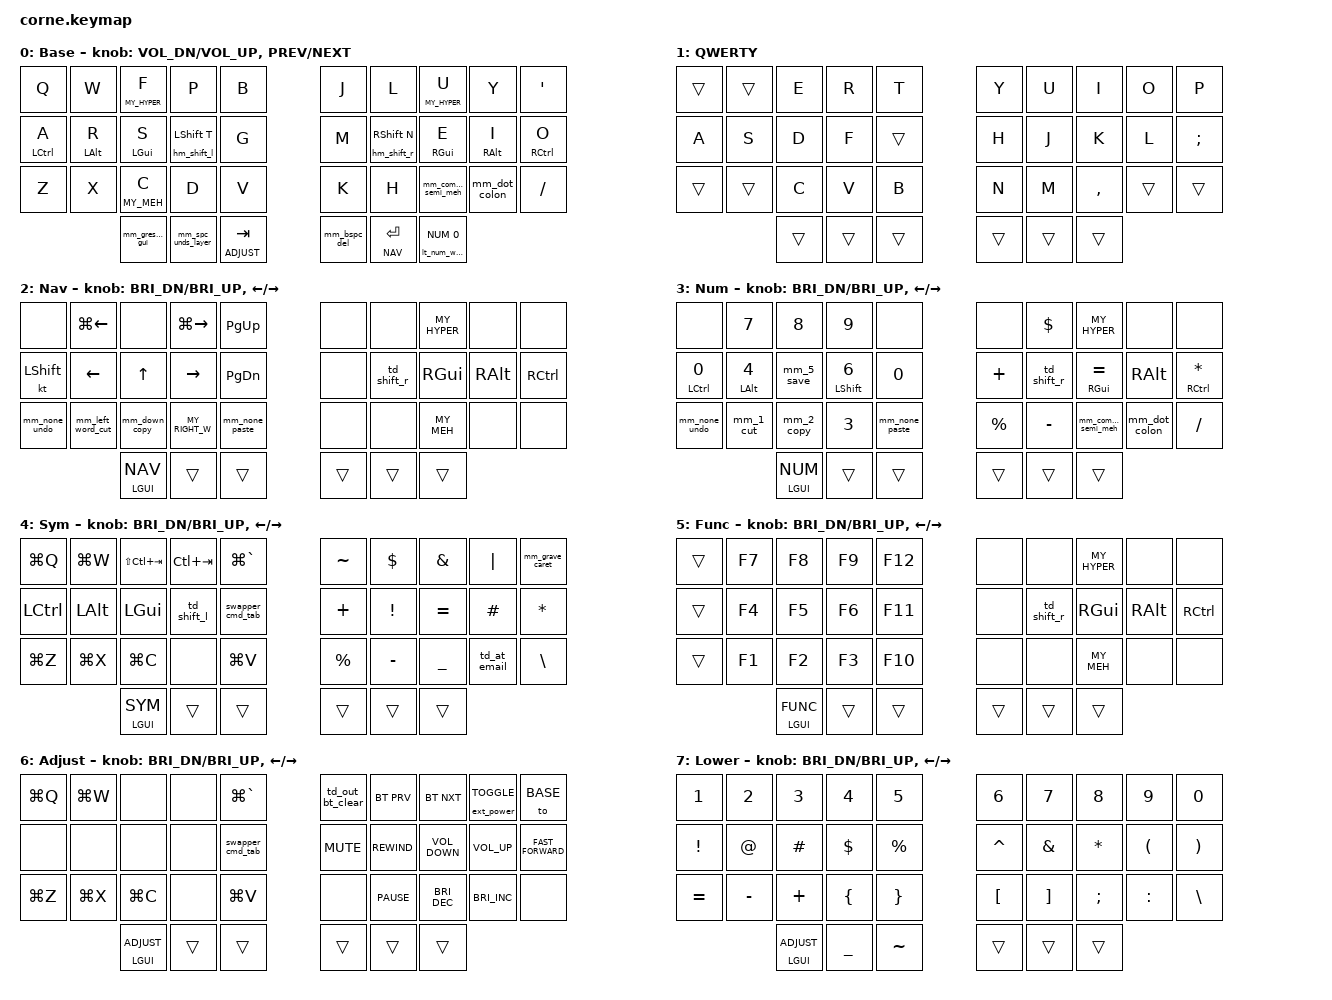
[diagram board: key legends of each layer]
/*
 * Copyright (c) 2020 The ZMK Contributors
 *
 * SPDX-License-Identifier: MIT
 */

/*
 * Copyright (c) 2020 The ZMK Contributors
 *
 * SPDX-License-Identifier: MIT
 */

// Define layer numbers
#define BASE 0
#define BASE_QWERTY 1
#define NAV 2
#define NUM 3
#define SYM 4
#define FUNC 5
#define ADJUST 6
#define LOWER 7

// ZMK includes
#include <behaviors.dtsi>
#include <dt-bindings/zmk/keys.h>
#include <dt-bindings/zmk/bt.h>
#include <dt-bindings/zmk/rgb.h>
#include <dt-bindings/zmk/ext_power.h>

// Personal includes
#include "includes/settings.dtsi"
#include "includes/custom_keycodes.dtsi"
//#include "includes/settings_pd.dtsi"
#include "includes/conditional_layers.dtsi"
//#include "includes/macros.dtsi"
#include "includes/combos.dtsi"
#include "includes/behaviors_homerow_mods.dtsi"
//#include "includes/behaviors_mod_morph.dtsi"
//#include "includes/behaviors_other.dtsi"


/ {

  keymap {
    compatible = "zmk,keymap";

    Base_layer {
      label = "Base";
      bindings = <
// ╭────────────────────────┬────────────────────────┬────────────────────────┬────────────────────────┬────────────────────────╮    ╭────────────────────────┬────────────────────────┬────────────────────────┬───────────────────────┬────────────────────────╮
     &kp Q                    &kp W                    &hm_l MY_HYPER F         &kp P                    &kp B                         &kp J                    &kp L                    &hm_r MY_HYPER U         &kp Y                    &kp SINGLE_QUOTE
// ├────────────────────────┼────────────────────────┼────────────────────────┼────────────────────────┼────────────────────────┤    ├────────────────────────┼────────────────────────┼────────────────────────┼───────────────────────┼────────────────────────┤
     &hm_l LCTRL A            &hm_l LALT R             &hm_l LGUI S             &hm_shift_l LSHFT T      &kp G                         &kp M                    &hm_shift_r RSHFT N      &hm_r RGUI E             &hm_r RALT I             &hm_r RCTRL O
// ├────────────────────────┼────────────────────────┼────────────────────────┼────────────────────────┼────────────────────────┤    ├────────────────────────┼────────────────────────┼────────────────────────┼───────────────────────┼────────────────────────┤
     &kp Z                    &kp X                    &hm_l MY_MEH C           &kp D                    &kp V                         &kp K                    &kp H                    &mm_comma_semi_meh       &mm_dot_colon            &kp SLASH
// ╰────────────────────────┴────────────────────────┴────────────────────────┼────────────────────────┼────────────────────────┤    ├────────────────────────┼────────────────────────┼────────────────────────┼───────────────────────┼────────────────────────╯
                                                       &mm_grescm_gui           &mm_spc_unds_layer       &lt ADJUST TAB                &mm_bspc_del             &lt NAV RETURN           &lt_num_word NUM 0
//                                                   ╰────────────────────────┴────────────────────────┴────────────────────────╯    ╰────────────────────────┴────────────────────────┴────────────────────────╯

      >;
      sensor-bindings = <&inc_dec_kp C_VOL_DN C_VOL_UP &inc_dec_kp C_PREV C_NEXT>;
    };

    Base_Qwerty_layer {
      label = "QWERTY";
      bindings = <
// ╭────────────────────────┬────────────────────────┬────────────────────────┬────────────────────────┬────────────────────────╮    ╭────────────────────────┬────────────────────────┬────────────────────────┬────────────────────────┬────────────────────────╮
     &trans                   &trans                   &kp E                    &kp R                    &kp T                         &kp Y                    &kp U                    &kp I                    &kp O                    &kp P
// ├────────────────────────┼────────────────────────┼────────────────────────┼────────────────────────┼────────────────────────┤    ├────────────────────────┼────────────────────────┼────────────────────────┼────────────────────────┼────────────────────────┤
     &kp A                    &kp S                    &kp D                    &kp F                    &trans                        &kp H                    &kp J                    &kp K                    &kp L                    &kp SEMICOLON
// ├────────────────────────┼────────────────────────┼────────────────────────┼────────────────────────┼────────────────────────┤    ├────────────────────────┼────────────────────────┼────────────────────────┼────────────────────────┼────────────────────────┤
     &trans                   &trans                   &kp C                    &kp V                    &kp B                         &kp N                    &kp M                    &kp COMMA                &trans                   &trans
// ╰────────────────────────┴────────────────────────┴────────────────────────┼────────────────────────┼────────────────────────┤    ├────────────────────────┼────────────────────────┼────────────────────────┼────────────────────────┴────────────────────────╯
                                                       &trans                   &trans                   &trans                        &trans                   &trans                   &trans
//                                                   ╰────────────────────────┴────────────────────────┴────────────────────────╯    ╰────────────────────────┴────────────────────────┴────────────────────────╯
      >;
    };

    Nav_layer {
      label = "Nav";
      bindings = <
// ╭────────────────────────┬────────────────────────┬────────────────────────┬────────────────────────┬────────────────────────╮    ╭────────────────────────┬────────────────────────┬────────────────────────┬────────────────────────┬────────────────────────╮
     &none                    &kp LG(LEFT)             &none                    &kp LG(RIGHT)            &kp PG_UP                     &none                    &none                    &kp MY_HYPER             &none                    &none
// ├────────────────────────┼────────────────────────┼────────────────────────┼────────────────────────┼────────────────────────┤    ├────────────────────────┼────────────────────────┼────────────────────────┼────────────────────────┼────────────────────────┤
     &kt LSHFT                &kp LEFT                 &kp UP                   &kp RIGHT                &kp PG_DN                     &none                    &td_shift_r              &kp RIGHT_GUI            &kp RIGHT_ALT            &kp RIGHT_CONTROL
// ├────────────────────────┼────────────────────────┼────────────────────────┼────────────────────────┼────────────────────────┤    ├────────────────────────┼────────────────────────┼────────────────────────┼────────────────────────┼────────────────────────┤
     &mm_none_undo            &mm_left_word_cut        &mm_down_copy            &kp MY_RIGHT_W           &mm_none_paste                &none                    &none                    &kp MY_MEH               &none                    &none
// ╰────────────────────────┴────────────────────────┴────────────────────────┼────────────────────────┼────────────────────────┤    ├────────────────────────┼────────────────────────┼────────────────────────┼────────────────────────┴────────────────────────╯
                                                       &ltog LGUI NAV           &trans                   &trans                        &trans                   &trans                   &trans
//                                                   ╰────────────────────────┴────────────────────────┴────────────────────────╯    ╰────────────────────────┴────────────────────────┴────────────────────────╯
      >;
      sensor-bindings = <&inc_dec_kp C_BRI_DN C_BRI_UP &inc_dec_kp LEFT RIGHT>;
    };

    Num_layer {
      label = "Num";
      bindings = <
// ╭────────────────────────┬────────────────────────┬────────────────────────┬────────────────────────┬────────────────────────╮    ╭────────────────────────┬────────────────────────┬────────────────────────┬────────────────────────┬────────────────────────╮
     &none                    &kp NUMBER_7             &kp NUMBER_8             &kp NUMBER_9             &none                         &none                    &kp DOLLAR               &kp MY_HYPER             &none                    &none
// ├────────────────────────┼────────────────────────┼────────────────────────┼────────────────────────┼────────────────────────┤    ├────────────────────────┼────────────────────────┼────────────────────────┼────────────────────────┼────────────────────────┤
     &hm_l LCTRL NUMBER_0     &hm_l LALT NUMBER_4      &mm_5_save               &hm_l LSHFT NUMBER_6     &kp NUMBER_0                  &kp PLUS                 &td_shift_r              &hm_r RGUI EQUAL         &kp RIGHT_ALT            &hm_r RCTRL ASTERISK
// ├────────────────────────┼────────────────────────┼────────────────────────┼────────────────────────┼────────────────────────┤    ├────────────────────────┼────────────────────────┼────────────────────────┼────────────────────────┼────────────────────────┤
     &mm_none_undo            &mm_1_cut                &mm_2_copy               &kp NUMBER_3             &mm_none_paste                &kp PERCENT              &kp MINUS                &mm_comma_semi_meh       &mm_dot_colon            &kp SLASH
// ╰────────────────────────┴────────────────────────┴────────────────────────┼────────────────────────┼────────────────────────┤    ├────────────────────────┼────────────────────────┼────────────────────────┼────────────────────────┴────────────────────────╯
                                                       &ltog LGUI NUM           &trans                   &trans                        &trans                   &trans                   &trans
//                                                   ╰────────────────────────┴────────────────────────┴────────────────────────╯    ╰────────────────────────┴────────────────────────┴────────────────────────╯
      >;
      sensor-bindings = <&inc_dec_kp C_BRI_DN C_BRI_UP &inc_dec_kp LEFT RIGHT>;
    };

    Sym_layer {
      label = "Sym";
      bindings = <
// ╭────────────────────────┬────────────────────────┬────────────────────────┬────────────────────────┬────────────────────────╮    ╭────────────────────────┬────────────────────────┬────────────────────────┬────────────────────────┬────────────────────────╮
     &kp LG(Q)                &kp LG(W)                &kp LS(LC(TAB))          &kp LC(TAB)              &kp LG(GRAVE)                 &kp TILDE                &kp DOLLAR               &kp AMPERSAND            &kp PIPE                 &mm_grave_caret
// ├────────────────────────┼────────────────────────┼────────────────────────┼────────────────────────┼────────────────────────┤    ├────────────────────────┼────────────────────────┼────────────────────────┼────────────────────────┼────────────────────────┤
     &kp LEFT_CONTROL         &kp LEFT_ALT             &kp LEFT_GUI             &td_shift_l              &swapper_cmd_tab              &kp PLUS                 &kp EXCLAMATION          &kp EQUAL                &kp HASH                 &kp ASTERISK
// ├────────────────────────┼────────────────────────┼────────────────────────┼────────────────────────┼────────────────────────┤    ├────────────────────────┼────────────────────────┼────────────────────────┼────────────────────────┼────────────────────────┤
     &kp LG(Z)                &kp LG(X)                &kp LG(C)                &none &kp                LG(V)                         &kp PERCENT              &kp MINUS                &kp UNDERSCORE           &td_at_email             &kp BACKSLASH
// ╰────────────────────────┴────────────────────────┴────────────────────────┼────────────────────────┼────────────────────────┤    ├────────────────────────┼────────────────────────┼────────────────────────┼────────────────────────┴────────────────────────╯
                                                       &ltog LGUI SYM           &trans                   &trans                        &trans                   &trans                   &trans
//                                                   ╰────────────────────────┴────────────────────────┴────────────────────────╯    ╰────────────────────────┴────────────────────────┴────────────────────────╯
      >;
      sensor-bindings = <&inc_dec_kp C_BRI_DN C_BRI_UP &inc_dec_kp LEFT RIGHT>;
    };

    Func_layer {
      label = "Func";
      bindings = <
// ╭────────────────────────┬────────────────────────┬────────────────────────┬────────────────────────┬────────────────────────╮    ╭────────────────────────┬────────────────────────┬────────────────────────┬────────────────────────┬────────────────────────╮
     &trans                   &kp F7                   &kp F8                   &kp F9                   &kp F12                       &none                    &none                    &kp MY_HYPER             &none                    &none
// ├────────────────────────┼────────────────────────┼────────────────────────┼────────────────────────┼────────────────────────┤    ├────────────────────────┼────────────────────────┼────────────────────────┼────────────────────────┼────────────────────────┤
     &trans                   &kp F4                   &kp F5                   &kp F6                   &kp F11                       &none                    &td_shift_r              &kp RIGHT_GUI            &kp RIGHT_ALT            &kp RIGHT_CONTROL
// ├────────────────────────┼────────────────────────┼────────────────────────┼────────────────────────┼────────────────────────┤    ├────────────────────────┼────────────────────────┼────────────────────────┼────────────────────────┼────────────────────────┤
     &trans                   &kp F1                   &kp F2                   &kp F3                   &kp F10                       &none                    &none                    &kp MY_MEH               &none                    &none
// ╰────────────────────────┴────────────────────────┴────────────────────────┼────────────────────────┼────────────────────────┤    ├────────────────────────┼────────────────────────┼────────────────────────┼────────────────────────┴────────────────────────╯
                                                       &ltog LGUI FUNC          &trans                   &trans                        &trans                   &trans                   &trans
//                                                   ╰────────────────────────┴────────────────────────┴────────────────────────╯    ╰────────────────────────┴────────────────────────┴────────────────────────╯
      >;
      sensor-bindings = <&inc_dec_kp C_BRI_DN C_BRI_UP &inc_dec_kp LEFT RIGHT>;
    };

    Adjust_layer {
      label = "Adjust";
      bindings = <
// ╭────────────────────────┬────────────────────────┬────────────────────────┬────────────────────────┬────────────────────────╮    ╭────────────────────────┬────────────────────────┬────────────────────────┬────────────────────────┬────────────────────────╮
     &kp LG(Q)                &kp LG(W)                &none                    &none                    &kp LG(GRAVE)                 &td_out_bt_clear         &bt BT_PRV               &bt BT_NXT               &ext_power EXT_POWER_TOGGLE_CMD &to BASE
// ├────────────────────────┼────────────────────────┼────────────────────────┼────────────────────────┼────────────────────────┤    ├────────────────────────┼────────────────────────┼────────────────────────┼────────────────────────┼────────────────────────┤
     &none                    &none                    &none                    &none                    &swapper_cmd_tab              &kp C_MUTE               &kp C_REWIND             &kp C_VOLUME_DOWN        &kp C_VOLUME_UP          &kp C_FAST_FORWARD
// ├────────────────────────┼────────────────────────┼────────────────────────┼────────────────────────┼────────────────────────┤    ├────────────────────────┼────────────────────────┼────────────────────────┼────────────────────────┼────────────────────────┤
     &kp LG(Z)                &kp LG(X)                &kp LG(C)                &none                    &kp LG(V)                     &none                    &kp C_PAUSE              &kp C_BRIGHTNESS_DEC     &kp C_BRIGHTNESS_INC     &none
// ╰────────────────────────┴────────────────────────┴────────────────────────┼────────────────────────┼────────────────────────┤    ├────────────────────────┼────────────────────────┼────────────────────────┼────────────────────────┴────────────────────────╯
                                                       &ltog LGUI ADJUST        &trans                   &trans                        &trans                   &trans                   &trans
//                                                   ╰────────────────────────┴────────────────────────┴────────────────────────╯    ╰────────────────────────┴────────────────────────┴────────────────────────╯
      >;
      sensor-bindings = <&inc_dec_kp C_BRI_DN C_BRI_UP &inc_dec_kp LEFT RIGHT>;
    };

    Lower_layer {
      label = "Lower";
      bindings = <
// ╭────────────────────────┬────────────────────────┬────────────────────────┬────────────────────────┬────────────────────────╮    ╭────────────────────────┬────────────────────────┬────────────────────────┬────────────────────────┬────────────────────────╮
     &kp NUMBER_1             &kp NUMBER_2             &kp NUMBER_3             &kp NUMBER_4             &kp NUMBER_5                  &kp NUMBER_6             &kp NUMBER_7             &kp NUMBER_8             &kp NUMBER_9             &kp NUMBER_0
// ├────────────────────────┼────────────────────────┼────────────────────────┼────────────────────────┼────────────────────────┤    ├────────────────────────┼────────────────────────┼────────────────────────┼────────────────────────┼────────────────────────┤
     &kp EXCLAMATION          &kp AT_SIGN              &kp HASH                 &kp DOLLAR               &kp PERCENT                   &kp CARET                &kp AMPERSAND            &kp ASTERISK             &kp LEFT_PARENTHESIS     &kp RIGHT_PARENTHESIS
// ├────────────────────────┼────────────────────────┼────────────────────────┼────────────────────────┼────────────────────────┤    ├────────────────────────┼────────────────────────┼────────────────────────┼────────────────────────┼────────────────────────┤
     &kp EQUAL                &kp MINUS                &kp PLUS                 &kp LEFT_BRACE           &kp RIGHT_BRACE               &kp LEFT_BRACKET         &kp RIGHT_BRACKET        &kp SEMICOLON            &kp COLON                &kp BACKSLASH
// ╰────────────────────────┴────────────────────────┴────────────────────────┼────────────────────────┼────────────────────────┤    ├────────────────────────┼────────────────────────┼────────────────────────┼────────────────────────┴────────────────────────╯
                                                       &ltog LGUI ADJUST        &kp UNDERSCORE           &kp TILDE                     &trans                    &trans                  &trans
//                                                   ╰────────────────────────┴────────────────────────┴────────────────────────╯    ╰────────────────────────┴────────────────────────┴────────────────────────╯
      >;
      sensor-bindings = <&inc_dec_kp C_BRI_DN C_BRI_UP &inc_dec_kp LEFT RIGHT>;
    };
  };

};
